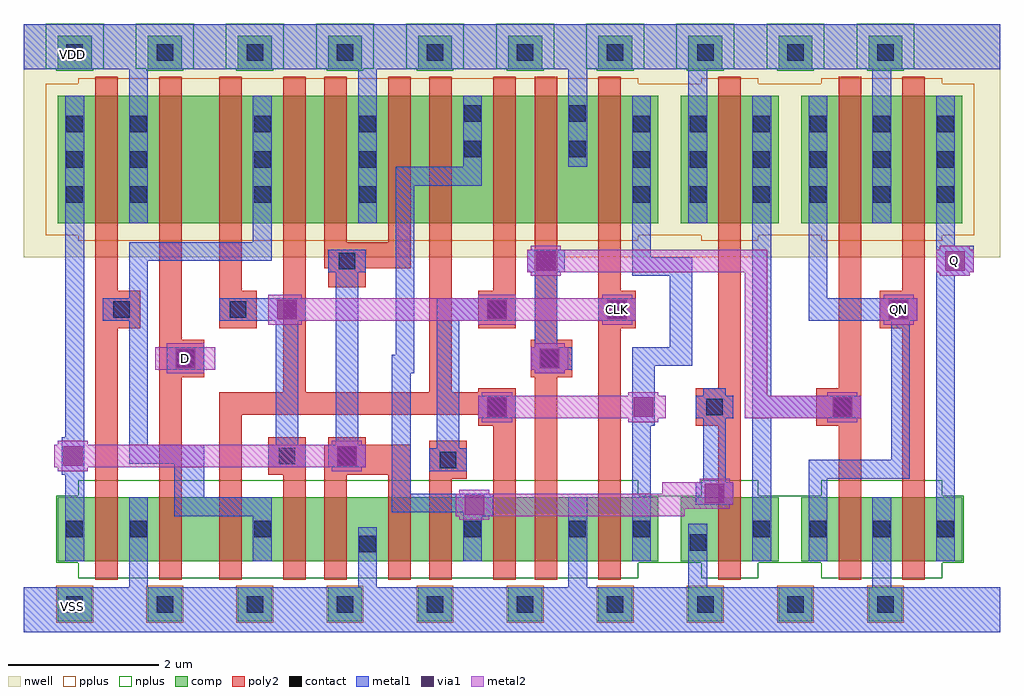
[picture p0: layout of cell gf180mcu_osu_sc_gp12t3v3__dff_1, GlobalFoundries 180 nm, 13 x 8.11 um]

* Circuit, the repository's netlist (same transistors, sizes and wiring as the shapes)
* Copyright 2022 Google LLC
*
* Licensed under the Apache License, Version 2.0 (the "License");
* you may not use this file except in compliance with the License.
* You may obtain a copy of the License at
*
*      http://www.apache.org/licenses/LICENSE-2.0
*
* Unless required by applicable law or agreed to in writing, software
* distributed under the License is distributed on an "AS IS" BASIS,
* WITHOUT WARRANTIES OR CONDITIONS OF ANY KIND, either express or implied.
* See the License for the specific language governing permissions and
* limitations under the License.

.inc "/import/yukari1/lrburle/OSU_180/char/techfiles/design.hspice"
.lib "/import/yukari1/lrburle/OSU_180/char/techfiles/sm141064.hspice" typical

.GLOBAL VDD
.GLOBAL VSS

.option scale=0.05u

.subckt gf180mcu_osu_sc_gp12t3v3__dff_1 D Q QN CLK
X0 a_75_109 a_52_14 a_19_14 VDD pmos_3p3 w=34 l=6
X1 a_19_14 CLK a_42_109 VDD pmos_3p3 w=34 l=6
X2 a_135_68 a_114_19 VDD VDD pmos_3p3 w=34 l=6
X3 Q QN VSS VSS nmos_3p3 w=17 l=6
X4 a_131_19 a_52_14 a_114_19 VSS nmos_3p3 w=17 l=6
X5 a_42_109 D VDD VDD pmos_3p3 w=34 l=6
X6 a_135_68 a_114_19 VSS VSS nmos_3p3 w=17 l=6
X7 VDD a_19_14 a_9_19 VDD pmos_3p3 w=34 l=6
X8 a_75_19 CLK a_19_14 VSS nmos_3p3 w=17 l=6
X9 VSS a_135_68 a_131_19 VSS nmos_3p3 w=17 l=6
X10 a_19_14 a_52_14 a_42_19 VSS nmos_3p3 w=17 l=6
X11 VSS a_19_14 a_9_19 VSS nmos_3p3 w=17 l=6
X12 a_52_14 CLK VDD VDD pmos_3p3 w=34 l=6
X13 VDD a_135_68 a_131_109 VDD pmos_3p3 w=34 l=6
X14 a_131_109 CLK a_114_19 VDD pmos_3p3 w=34 l=6
X15 VSS a_135_68 QN VSS nmos_3p3 w=17 l=6
X16 a_114_19 a_52_14 a_103_109 VDD pmos_3p3 w=34 l=6
X17 a_114_19 CLK a_103_19 VSS nmos_3p3 w=17 l=6
X18 a_52_14 CLK VSS VSS nmos_3p3 w=17 l=6
X19 a_103_109 a_9_19 VDD VDD pmos_3p3 w=34 l=6
X20 a_42_19 D VSS VSS nmos_3p3 w=17 l=6
X21 VDD a_9_19 a_75_109 VDD pmos_3p3 w=34 l=6
X22 a_103_19 a_9_19 VSS VSS nmos_3p3 w=17 l=6
X23 Q QN VDD VDD pmos_3p3 w=34 l=6
X24 VDD a_135_68 QN VDD pmos_3p3 w=34 l=6
X25 VSS a_9_19 a_75_19 VSS nmos_3p3 w=17 l=6
.ends

** hspice subcircuit dictionary

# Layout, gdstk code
import gdstk
lib = gdstk.Library(unit=1e-6, precision=1e-09)
def R(c, l, rs):  # rectangles x0, y0, x1, y1
    for r in rs: c.add(gdstk.rectangle(r[:2], r[2:], *l))
def A(c, l, x, y, w, h, nx, ny, dx, dy):  # array of equal rectangles
    R(c, l, [(x+i*dx, y+j*dy, x+i*dx+w, y+j*dy+h) for i in range(nx) for j in range(ny)])
nwell = (21, 0)
comp = (22, 0)
poly2 = (30, 0)
pplus = (31, 0)
nplus = (32, 0)
contact = (33, 0)
metal1 = (34, 0)
via1 = (35, 0)
metal2 = (36, 0)

gf180mcu_osu_sc_gp12t3v3 = lib.new_cell('gf180mcu_osu_sc_gp12t3v3__dff_1')
R(gf180mcu_osu_sc_gp12t3v3, nwell, [(0,5,13,8.1)])
A(gf180mcu_osu_sc_gp12t3v3, comp, 0.45, 0.15, 0.45, 0.45, 10, 2, 1.2, 7.35)
R(gf180mcu_osu_sc_gp12t3v3, comp, [(0.45,0.95,8.45,1.8), (8.75,0.95,10.05,1.8), (10.35,0.95,12.5,1.8), (0.45,5.45,8.45,7.15), (8.75,5.45,10.05,7.15), (10.35,5.45,12.5,7.15)])
R(gf180mcu_osu_sc_gp12t3v3, poly2, [(0.95,0.7,1.25,4.05), (1.8,0.7,2.1,3.4), (2.6,0.7,2.9,2.9), (3.45,0.7,3.75,2.1), (4,0.7,4.3,2.1), (4.85,0.7,5.15,2.1), (5.4,0.7,5.7,2.05), (6.25,0.7,6.55,2.75), (6.8,0.7,7.1,3.4), (7.65,0.7,7.95,4.05), (9.25,0.7,9.55,2.75), (10.85,0.7,11.15,2.75), (11.7,0.7,12,4.05), (5.4,2.05,5.9,2.55), (3.25,2.1,3.75,2.6), (4,2.1,5.15,2.5), (4.05,2.5,4.55,2.6), (6.05,2.75,6.55,2.9), (8.95,2.75,9.55,3.25), (10.55,2.75,11.15,3.25), (2.6,2.9,6.55,3.2), (3.45,3.2,3.75,7.4), (5.4,3.2,5.7,7.4), (6.05,3.2,6.55,3.25), (9.25,3.25,9.55,7.4), (10.85,3.25,11.15,7.4), (1.8,3.4,2.4,3.9), (6.75,3.4,7.3,3.9), (1.8,3.9,2.1,7.4), (6.8,3.9,7.1,7.4), (0.95,4.05,1.55,4.55), (2.6,4.05,3.1,4.55), (6.05,4.05,6.55,4.55), (7.65,4.05,8.15,4.55), (11.4,4.05,12,4.55), (0.95,4.55,1.25,7.4), (2.6,4.55,2.9,7.4), (6.25,4.55,6.55,7.4), (7.65,4.55,7.95,7.4), (11.7,4.55,12,7.4), (4.05,4.6,4.55,4.85), (4,4.85,5.15,5.2), (4,5.2,4.3,7.4), (4.85,5.2,5.15,7.4)])
A(gf180mcu_osu_sc_gp12t3v3, pplus, 0.43, 0.13, 0.49, 0.49, 10, 1, 1.2, 0)
R(gf180mcu_osu_sc_gp12t3v3, pplus, [(0.72,5.22,8.18,5.29), (9.02,5.22,9.78,5.29), (10.62,5.22,12.23,5.29), (0.29,5.29,12.66,7.31), (0.72,7.31,8.18,7.38), (9.02,7.31,9.78,7.38), (10.62,7.31,12.23,7.38)])
A(gf180mcu_osu_sc_gp12t3v3, nplus, 0.43, 7.48, 0.49, 0.03, 10, 1, 1.2, 0)
A(gf180mcu_osu_sc_gp12t3v3, nplus, 0.29, 7.51, 0.77, 0.6, 10, 1, 1.2, 0)
R(gf180mcu_osu_sc_gp12t3v3, nplus, [(0.72,0.72,8.18,0.93), (9.02,0.72,9.78,0.93), (10.62,0.72,12.23,0.93), (0.43,0.93,12.52,1.82), (0.72,1.82,8.18,2.03), (9.02,1.82,9.78,2.03), (10.62,1.82,12.23,2.03)])
A(gf180mcu_osu_sc_gp12t3v3, contact, 0.565, 0.265, 0.22, 0.22, 10, 2, 1.2, 7.35)
A(gf180mcu_osu_sc_gp12t3v3, contact, 10.465, 1.265, 0.22, 0.22, 3, 2, 0.85, 4.455)
A(gf180mcu_osu_sc_gp12t3v3, contact, 0.565, 5.72, 0.22, 0.22, 1, 3, 0, 0.47)
A(gf180mcu_osu_sc_gp12t3v3, contact, 1.415, 5.72, 0.22, 0.22, 1, 3, 0, 0.47)
A(gf180mcu_osu_sc_gp12t3v3, contact, 3.065, 5.72, 0.22, 0.22, 1, 3, 0, 0.47)
A(gf180mcu_osu_sc_gp12t3v3, contact, 4.465, 5.72, 0.22, 0.22, 1, 3, 0, 0.47)
A(gf180mcu_osu_sc_gp12t3v3, contact, 8.115, 5.72, 0.22, 0.22, 1, 3, 0, 0.47)
A(gf180mcu_osu_sc_gp12t3v3, contact, 8.865, 5.72, 0.22, 0.22, 1, 3, 0, 0.47)
A(gf180mcu_osu_sc_gp12t3v3, contact, 9.715, 5.72, 0.22, 0.22, 1, 3, 0, 0.47)
A(gf180mcu_osu_sc_gp12t3v3, contact, 10.465, 6.19, 0.22, 0.22, 3, 2, 0.85, 0.47)
R(gf180mcu_osu_sc_gp12t3v3, contact, [(4.465,1.065,4.685,1.285), (8.865,1.09,9.085,1.31), (0.565,1.265,0.785,1.485), (1.415,1.265,1.635,1.485), (3.065,1.265,3.285,1.485), (5.865,1.265,6.085,1.485), (7.265,1.265,7.485,1.485), (8.115,1.265,8.335,1.485), (9.715,1.265,9.935,1.485), (5.54,2.19,5.76,2.41), (3.39,2.24,3.61,2.46), (4.19,2.24,4.41,2.46), (6.19,2.89,6.41,3.11), (9.09,2.89,9.31,3.11), (10.79,2.89,11.01,3.11), (2.04,3.54,2.26,3.76), (6.89,3.54,7.11,3.76), (1.19,4.19,1.41,4.41), (2.74,4.19,2.96,4.41), (6.19,4.19,6.41,4.41), (7.79,4.19,8.01,4.41), (11.54,4.19,11.76,4.41), (4.19,4.84,4.41,5.06), (5.865,6.33,6.085,6.55), (7.265,6.33,7.485,6.55), (5.865,6.8,6.085,7.02), (7.265,6.8,7.485,7.02)])
R(gf180mcu_osu_sc_gp12t3v3, metal1, [(0,0,13,0.6), (1.4,0.6,1.65,1.8), (4.45,0.6,4.7,1.4), (7.25,0.6,7.5,1.8), (8.85,0.6,9.1,1.45), (11.3,0.6,11.55,1.8), (0.55,0.95,0.8,2.1), (3.05,0.95,3.3,1.55), (5.85,0.95,6.1,1.55), (8.1,0.95,8.35,2.75), (9.7,0.95,9.95,2.85), (10.45,0.95,10.7,2.05), (12.15,0.95,12.4,4.75), (2,1.55,3.3,1.8), (5.85,1.55,6.25,1.6), (4.9,1.6,6.25,1.85), (8.95,1.7,9.45,2), (2,1.8,2.4,2.25), (4.9,1.85,5.15,3.45), (9.05,2,9.35,2.85), (10.45,2.05,11.8,2.3), (0.5,2.1,0.8,2.6), (5.4,2.15,5.9,2.45), (3.25,2.2,3.75,2.5), (4.05,2.2,4.55,2.5), (1.4,2.25,2.4,2.5), (11.55,2.3,11.8,4.15), (5.5,2.45,5.8,4.15), (1.4,2.5,1.65,4.15), (3.35,2.5,3.65,4.15), (4.15,2.5,4.45,4.8), (0.55,2.6,0.8,7.15), (8.1,2.75,8.4,3.55), (6.05,2.85,6.55,3.15), (8.95,2.85,9.45,3.15), (9.7,2.85,11.15,3.15), (9.05,3.15,9.35,3.25), (9.7,3.15,9.95,7.15), (4.9,3.45,5.2,3.7), (6.8,3.45,7.2,3.5), (1.9,3.5,2.4,3.8), (6.75,3.5,7.3,3.8), (8.1,3.55,8.9,3.8), (4.95,3.7,5.2,5.95), (6.8,3.8,7.1,4.8), (8.6,3.8,8.9,4.75), (1.05,4.15,1.65,4.45), (2.6,4.15,3.75,4.45), (5.5,4.15,6.55,4.45), (7.65,4.15,8.15,4.45), (10.45,4.15,11.9,4.45), (1.4,4.45,1.65,4.95), (10.45,4.45,10.7,7.15), (8.1,4.75,8.9,5), (12.15,4.75,12.6,4.8), (4.05,4.8,4.55,5.1), (6.7,4.8,7.2,5.1), (12.15,4.8,12.65,5.15), (1.4,4.95,3.3,5.2), (8.1,5,8.35,7.15), (12.15,5.15,12.4,7.15), (3.05,5.2,3.3,7.15), (1.4,5.45,1.65,7.5), (4.45,5.45,4.7,7.5), (8.85,5.45,9.1,7.5), (11.3,5.45,11.55,7.5), (4.95,5.95,6.1,6.2), (5.85,6.2,6.1,7.15), (7.25,6.2,7.5,7.5), (0,7.5,13,8.1)])
R(gf180mcu_osu_sc_gp12t3v3, via1, [(5.87,1.57,6.13,1.83), (9.07,1.72,9.33,1.98), (0.52,2.22,0.78,2.48), (4.17,2.22,4.43,2.48), (6.17,2.87,6.43,3.13), (8.12,2.87,8.38,3.13), (10.77,2.87,11.03,3.13), (2.02,3.52,2.28,3.78), (6.87,3.52,7.13,3.78), (3.37,4.17,3.63,4.43), (6.17,4.17,6.43,4.43), (7.77,4.17,8.03,4.43), (11.52,4.17,11.78,4.43), (6.82,4.82,7.08,5.08), (12.27,4.82,12.53,5.08)])
R(gf180mcu_osu_sc_gp12t3v3, metal2, [(5.8,1.5,6.2,1.55), (5.75,1.55,8.8,1.65), (5.75,1.65,9.4,1.7), (5.75,1.7,9.45,1.85), (5.8,1.85,6.2,1.9), (8.5,1.85,9.45,2), (9,2,9.4,2.05), (0.45,2.15,0.85,2.2), (4.1,2.15,4.5,2.2), (0.4,2.2,4.55,2.5), (0.45,2.5,0.85,2.55), (4.1,2.5,4.5,2.55), (6.1,2.8,6.5,2.85), (8.05,2.8,8.45,2.85), (10.7,2.8,11.1,2.85), (6.05,2.85,8.55,3.15), (9.6,2.85,11.15,3.15), (6.1,3.15,6.5,3.2), (8.05,3.15,8.45,3.2), (9.6,3.15,9.9,4.8), (10.7,3.15,11.1,3.2), (1.9,3.45,2.4,3.5), (6.8,3.45,7.2,3.5), (1.75,3.5,2.55,3.8), (6.75,3.5,7.25,3.8), (1.9,3.8,2.4,3.85), (6.8,3.8,7.2,3.85), (3.25,4.1,3.7,4.15), (6.05,4.1,6.55,4.15), (7.7,4.1,8.1,4.15), (11.45,4.1,11.85,4.15), (3.25,4.15,8.15,4.45), (11.4,4.15,11.9,4.45), (3.25,4.45,3.7,4.5), (6.05,4.45,6.55,4.5), (7.7,4.45,8.1,4.5), (11.45,4.45,11.85,4.5), (6.75,4.75,7.15,4.8), (12.2,4.75,12.6,4.8), (6.7,4.8,9.9,5.1), (12.15,4.8,12.65,5.1), (6.75,5.1,7.15,5.15), (12.2,5.1,12.6,5.15)])
gf180mcu_osu_sc_gp12t3v3.add(gdstk.Label('VDD', (0.65,7.7), layer=34, texttype=0))
gf180mcu_osu_sc_gp12t3v3.add(gdstk.Label('VSS', (0.65,0.35), layer=34, texttype=0))
gf180mcu_osu_sc_gp12t3v3.add(gdstk.Label('D', (2.15,3.65), layer=36, texttype=10))
gf180mcu_osu_sc_gp12t3v3.add(gdstk.Label('Q', (12.4,4.95), layer=36, texttype=10))
gf180mcu_osu_sc_gp12t3v3.add(gdstk.Label('QN', (11.65,4.3), layer=36, texttype=10))
gf180mcu_osu_sc_gp12t3v3.add(gdstk.Label('CLK', (7.9,4.3), layer=36, texttype=10))

lib.write_gds('gf180mcu_osu_sc_gp12t3v3__dff_1.gds')
